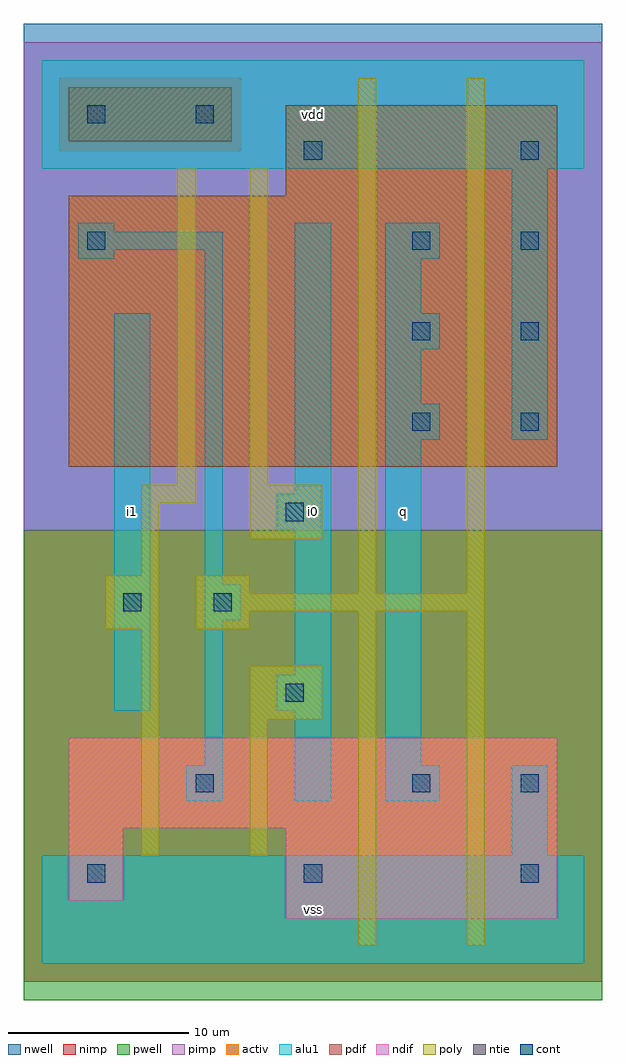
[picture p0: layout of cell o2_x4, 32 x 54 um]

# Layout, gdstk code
import gdstk
lib = gdstk.Library(unit=1e-6, precision=1e-09)
def R(c, l, rs):  # rectangles x0, y0, x1, y1
    for r in rs: c.add(gdstk.rectangle(r[:2], r[2:], *l))
def A(c, l, x, y, w, h, nx, ny, dx, dy):  # array of equal rectangles
    R(c, l, [(x+i*dx, y+j*dy, x+i*dx+w, y+j*dy+h) for i in range(nx) for j in range(ny)])
ndif = (3, 0)
pdif = (4, 0)
ntie = (5, 0)
cont = (25, 0)
pwell = (41, 0)
nwell = (42, 0)
activ = (43, 0)
pimp = (44, 0)
nimp = (45, 0)
poly = (46, 0)
alu1 = (49, 0)

o2_x4 = lib.new_cell('o2_x4')
R(o2_x4, ndif, [(13.5,2.5,28.5,7.5), (1.5,3.5,4.5,7.5), (1.5,7.5,28.5,12.5)])
R(o2_x4, pdif, [(1.5,27.5,28.5,42.5), (13.5,42.5,28.5,47.5)])
R(o2_x4, ntie, [(1.5,45.5,10.5,48.5)])
A(o2_x4, cont, 2.5, 4.5, 1, 1, 3, 1, 12, 0)
A(o2_x4, cont, 20.5, 29.5, 1, 1, 1, 3, 0, 5)
A(o2_x4, cont, 26.5, 29.5, 1, 1, 1, 4, 0, 5)
R(o2_x4, cont, [(8.5,9.5,9.5,10.5), (20.5,9.5,21.5,10.5), (26.5,9.5,27.5,10.5), (13.5,14.5,14.5,15.5), (4.5,19.5,5.5,20.5), (9.5,19.5,10.5,20.5), (13.5,24.5,14.5,25.5), (2.5,39.5,3.5,40.5), (14.5,44.5,15.5,45.5), (2.5,46.5,3.5,47.5), (8.5,46.5,9.5,47.5)])
R(o2_x4, pwell, [(-1,-2,31,24)])
R(o2_x4, nwell, [(-1,24,31,52)])
R(o2_x4, activ, [(13.5,2.5,28.5,7.5), (1.5,3.5,4.5,7.5), (1.5,7.5,28.5,12.5), (1.5,27.5,28.5,42.5), (13.5,42.5,28.5,47.5), (1.5,45.5,10.5,48.5)])
R(o2_x4, pimp, [(-1,24,31,45), (-1,45,1,49), (11,45,31,49), (-1,49,31,51)])
R(o2_x4, nimp, [(-1,-1,31,24), (1,45,11,49)])
R(o2_x4, poly, [(17.5,1,18.5,19.5), (23.5,1,24.5,19.5), (5.5,6,6.5,18.5), (11.5,6,12.5,13.5), (11.5,13.5,15.5,16.5), (3.5,18.5,6.5,21.5), (8.5,18.5,11.5,19.5), (8.5,19.5,24.5,20.5), (8.5,20.5,11.5,21.5), (17.5,20.5,18.5,49), (23.5,20.5,24.5,49), (5.5,21.5,6.5,25.5), (11.5,23.5,15.5,26.5), (5.5,25.5,8.5,26.5), (7.5,26.5,8.5,44), (11.5,26.5,12.5,44)])
A(o2_x4, alu1, 19, 29, 3, 2, 1, 3, 0, 5)
R(o2_x4, alu1, [(0,0,30,6), (26,6,28,11), (8,9,10,11), (14,9,16,14), (19,9,22,11), (9,11,10,19), (19,11,21,29), (4,14,6,36), (13,14,16,16), (14,16,16,24), (9,19,11,21), (9,21,10,39.5), (13,24,16,26), (14,26,16,41), (26,29,28,44), (19,31,21,34), (19,36,21,39), (2,39,4,39.5), (2,39.5,10,40.5), (2,40.5,4,41), (0,44,30,50)])
o2_x4.add(gdstk.Label('i1', (5,25), layer=49, texttype=0))
o2_x4.add(gdstk.Label('vss', (15,3), layer=49, texttype=0))
o2_x4.add(gdstk.Label('q', (20,25), layer=49, texttype=0))
o2_x4.add(gdstk.Label('i0', (15,25), layer=49, texttype=0))
o2_x4.add(gdstk.Label('vdd', (15,47), layer=49, texttype=0))

lib.write_gds('o2_x4.gds')
